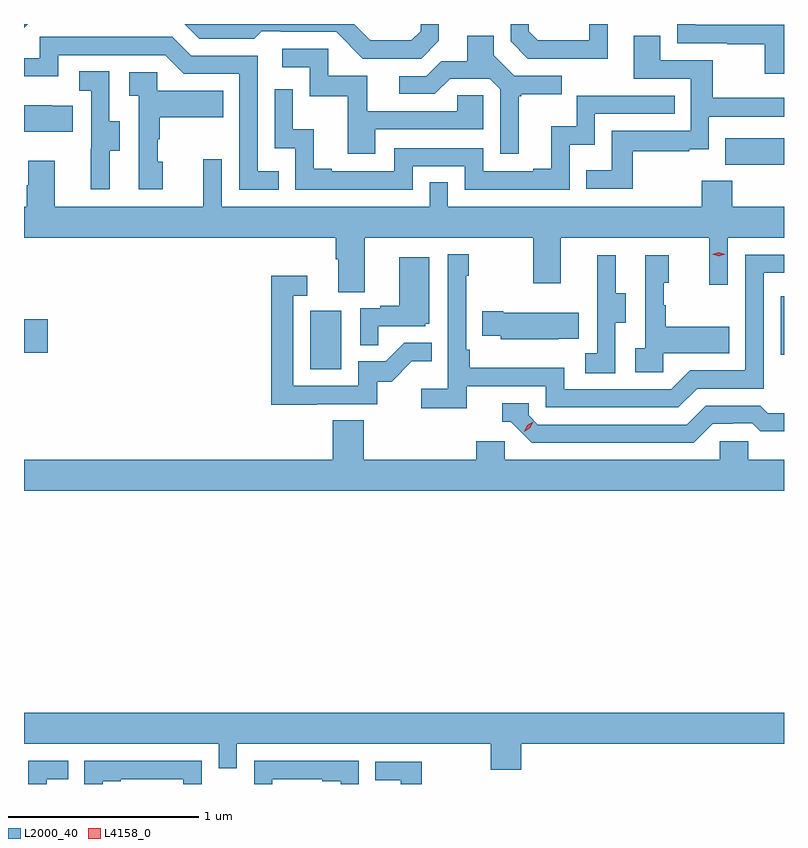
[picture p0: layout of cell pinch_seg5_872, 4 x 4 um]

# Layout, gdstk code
import gdstk
lib = gdstk.Library(unit=1e-6, precision=1e-09)
def R(c, l, rs):  # rectangles x0, y0, x1, y1
    for r in rs: c.add(gdstk.rectangle(r[:2], r[2:], *l))
def P(c, l, *ps):  # polygons
    for p in ps: c.add(gdstk.Polygon(p, *l))
L2000_40 = (2000, 40)
L4158_0 = (4158, 0)

pinch_seg5_872 = lib.new_cell('pinch_seg5_872')
R(pinch_seg5_872, L2000_40, [(868.394,885.372,868.558,885.679), (870.87,885.447,870.887,885.756), (866.887,885.458,867.013,885.636), (868.747,887.188,868.884,887.189), (869.634,887.188,869.773,887.189)])
P(pinch_seg5_872, L2000_40, [(870.887,887.184),(870.42,887.184),(870.42,887.189),(870.324,887.189),(870.324,887.088),(870.589,887.088),(870.589,887.083),(870.786,887.083),(870.786,886.928),(870.887,886.928)],
  [(869.959,887.189),(869.862,887.189),(869.862,887.103),(869.592,887.103),(869.544,887.151),(869.544,887.189),(869.448,887.189),(869.448,887.097),(869.538,887.007),(869.754,887.007),(869.754,887.006),(869.959,887.006)],
  [(869.071,887.101),(869.071,887.189),(868.974,887.189),(868.974,887.151),(868.926,887.103),(868.71,887.103),(868.624,887.189),(867.733,887.189),(867.81,887.112),(868.099,887.112),(868.138,887.151),(868.237,887.151),(868.237,887.148),(868.53,887.148),(868.671,887.007),(868.977,887.007)],
  [(866.906,887.189),(866.887,887.189),(866.887,887.17)],
  [(870.091,886.518),(870.389,886.518),(870.389,886.529),(870.492,886.529),(870.492,886.701),(870.887,886.701),(870.887,886.802),(870.512,886.802),(870.512,886.998),(870.235,886.998),(870.235,887.126),(870.095,887.126),(870.095,886.902),(870.396,886.902),(870.396,886.626),(869.98,886.626),(869.98,886.42),(869.845,886.42),(869.845,886.323),(870.091,886.323)],
  [(869.491,886.809),(869.503,886.809),(869.503,886.82),(869.716,886.82),(869.716,886.917),(869.466,886.917),(869.359,887.024),(869.359,887.126),(869.219,887.126),(869.219,886.994),(869.084,886.994),(869.004,886.914),(868.863,886.914),(868.863,886.821),(869.05,886.821),(869.131,886.902),(869.337,886.902),(869.394,886.845),(869.394,886.506),(869.491,886.506)],
  [(868.229,886.413),(868.116,886.413),(868.116,887.022),(867.766,887.022),(867.667,887.121),(866.97,887.121),(866.97,887.01),(866.887,887.01),(866.887,886.913),(867.066,886.913),(867.066,887.025),(867.63,887.025),(867.729,886.926),(868.02,886.926),(868.02,886.317),(868.229,886.317)],
  [(868.735,886.635),(869.304,886.635),(869.304,886.815),(869.167,886.815),(869.167,886.731),(868.693,886.731),(868.693,886.917),(868.488,886.917),(868.488,887.058),(868.245,887.058),(868.245,886.962),(868.392,886.962),(868.392,886.809),(868.591,886.809),(868.591,886.506),(868.735,886.506)],
  [(867.337,886.522),(867.391,886.522),(867.391,886.677),(867.336,886.677),(867.336,886.94),(867.177,886.94),(867.177,886.837),(867.24,886.837),(867.24,886.533),(867.239,886.533),(867.239,886.32),(867.337,886.32)],
  [(867.616,886.464),(867.591,886.464),(867.591,886.583),(867.601,886.583),(867.601,886.697),(867.935,886.697),(867.935,886.837),(867.588,886.837),(867.588,886.935),(867.441,886.935),(867.441,886.811),(867.492,886.811),(867.492,886.32),(867.616,886.32)],
  [(868.932,886.44),(869.208,886.44),(869.208,886.317),(869.76,886.317),(869.76,886.553),(869.892,886.553),(869.892,886.716),(870.311,886.716),(870.311,886.812),(869.796,886.812),(869.796,886.651),(869.663,886.651),(869.663,886.426),(869.567,886.426),(869.567,886.413),(869.304,886.413),(869.304,886.536),(868.836,886.536),(868.836,886.413),(868.507,886.413),(868.507,886.426),(868.412,886.426),(868.412,886.634),(868.302,886.634),(868.302,886.846),(868.206,886.846),(868.206,886.536),(868.314,886.536),(868.314,886.317),(868.932,886.317)],
  [(867.143,886.759),(867.035,886.759),(867.035,886.762),(866.887,886.762),(866.887,886.622),(867.143,886.622)],
  [(870.887,886.587),(870.791,886.587),(870.791,886.588),(870.577,886.588),(870.577,886.448),(870.887,886.448)],
  [(868.681,886.064),(869.566,886.064),(869.566,885.825),(869.713,885.825),(869.713,886.064),(870.494,886.064),(870.494,885.816),(870.591,885.816),(870.591,886.064),(870.887,886.064),(870.887,886.228),(870.614,886.228),(870.614,886.363),(870.454,886.363),(870.454,886.228),(869.118,886.228),(869.118,886.355),(869.022,886.355),(869.022,886.228),(867.927,886.228),(867.927,886.477),(867.83,886.477),(867.83,886.228),(867.049,886.228),(867.049,886.468),(866.909,886.468),(866.909,886.34),(866.902,886.34),(866.902,886.228),(866.887,886.228),(866.887,886.064),(868.529,886.064),(868.529,885.952),(868.541,885.952),(868.541,885.778),(868.681,885.778)],
  [(869.216,885.282),(869.634,885.282),(869.634,885.171),(870.331,885.171),(870.43,885.27),(870.78,885.27),(870.78,885.879),(870.887,885.879),(870.887,885.975),(870.684,885.975),(870.684,885.366),(870.393,885.366),(870.294,885.267),(869.73,885.267),(869.73,885.379),(869.234,885.379),(869.234,885.475),(869.214,885.475),(869.214,885.863),(869.227,885.863),(869.227,885.976),(869.118,885.976),(869.118,885.268),(868.977,885.268),(868.977,885.166),(869.216,885.166)],
  [(870.252,885.455),(870.599,885.455),(870.599,885.595),(870.265,885.595),(870.265,885.71),(870.255,885.71),(870.255,885.828),(870.28,885.828),(870.28,885.973),(870.156,885.973),(870.156,885.482),(870.105,885.482),(870.105,885.357),(870.252,885.357)],
  [(870,885.616),(870.055,885.616),(870.055,885.771),(870.001,885.771),(870.001,885.973),(869.903,885.973),(869.903,885.759),(869.904,885.759),(869.904,885.455),(869.841,885.455),(869.841,885.352),(870,885.352)],
  [(868.751,885.597),(868.998,885.597),(868.998,885.612),(869.02,885.612),(869.02,885.961),(868.862,885.961),(868.862,885.706),(868.763,885.706),(868.763,885.693),(868.656,885.693),(868.656,885.499),(868.751,885.499)],
  [(868.427,885.189),(868.746,885.189),(868.746,885.306),(868.822,885.306),(868.929,885.413),(869.033,885.413),(869.033,885.512),(868.889,885.512),(868.791,885.414),(868.647,885.414),(868.647,885.285),(868.305,885.285),(868.305,885.759),(868.378,885.759),(868.378,885.865),(868.189,885.865),(868.189,885.184),(868.427,885.184)],
  [(869.699,885.533),(869.807,885.533),(869.807,885.67),(869.41,885.67),(869.41,885.678),(869.299,885.678),(869.299,885.548),(869.397,885.548),(869.397,885.53),(869.699,885.53)],
  [(870.511,885.084),(870.618,885.084),(870.618,885.087),(870.721,885.087),(870.763,885.045),(870.887,885.045),(870.887,885.141),(870.802,885.141),(870.763,885.18),(870.474,885.18),(870.375,885.081),(869.592,885.081),(869.544,885.129),(869.544,885.192),(869.405,885.192),(869.405,885.096),(869.448,885.096),(869.559,884.985),(870.412,884.985)],
  [(870.887,884.896),(870.699,884.896),(870.699,884.994),(870.549,884.994),(870.549,884.896),(869.418,884.896),(869.418,884.994),(869.267,884.994),(869.267,884.896),(868.676,884.896),(868.676,885.104),(868.511,885.104),(868.511,884.896),(866.887,884.896),(866.887,884.732),(870.887,884.732)],
  [(869.504,883.4),(870.887,883.4),(870.887,883.564),(866.887,883.564),(866.887,883.4),(867.912,883.4),(867.912,883.273),(868.008,883.273),(868.008,883.4),(869.344,883.4),(869.344,883.265),(869.504,883.265)],
  [(867.006,883.215),(867.119,883.215),(867.119,883.311),(866.91,883.311),(866.91,883.189),(867.006,883.189)],
  [(868.194,883.215),(868.457,883.215),(868.457,883.203),(868.553,883.203),(868.553,883.189),(868.65,883.189),(868.65,883.311),(868.098,883.311),(868.098,883.189),(868.194,883.189)],
  [(867.302,883.203),(867.397,883.203),(867.397,883.215),(867.726,883.215),(867.726,883.189),(867.822,883.189),(867.822,883.311),(867.204,883.311),(867.204,883.189),(867.302,883.189)],
  [(868.981,883.305),(868.735,883.305),(868.735,883.208),(868.87,883.208),(868.87,883.189),(868.981,883.189)])
P(pinch_seg5_872, L4158_0, [(869.52,885.044),(869.52,885.044),(869.536,885.076),(869.567,885.095),(869.567,885.095),(869.567,885.095),(869.551,885.063),(869.52,885.044)],
  [(870.544,885.967),(870.509,885.976),(870.509,885.977),(870.509,885.977),(870.544,885.987),(870.579,885.977),(870.579,885.977),(870.579,885.976)])

lib.write_gds('pinch_seg5_872.gds')
